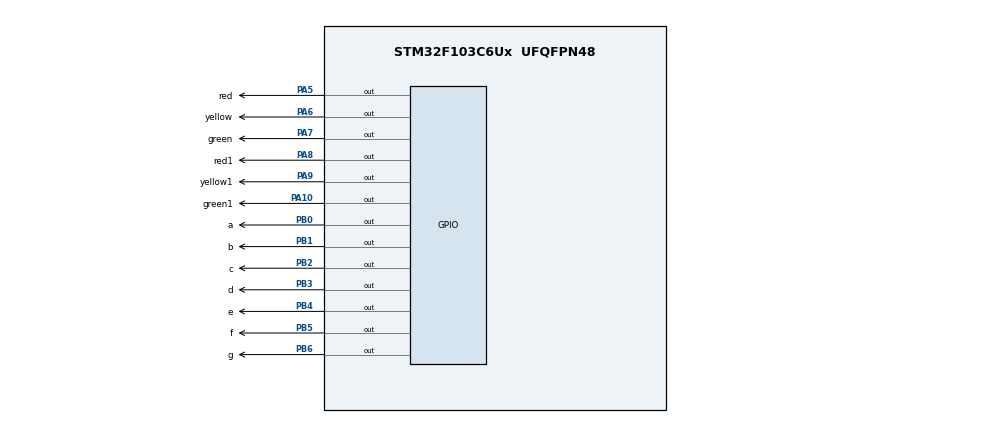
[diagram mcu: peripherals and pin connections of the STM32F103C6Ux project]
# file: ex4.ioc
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Mcu.Family=STM32F1
Mcu.Name=STM32F103C6Ux
Mcu.Package=UFQFPN48
NVIC.PriorityGroup=NVIC_PRIORITYGROUP_4
PA10.GPIO_Label=green1
PA10.Signal=GPIO_Output
PA5.GPIO_Label=red
PA5.Signal=GPIO_Output
PA6.GPIO_Label=yellow
PA6.Signal=GPIO_Output
PA7.GPIO_Label=green
PA7.Signal=GPIO_Output
PA8.GPIO_Label=red1
PA8.Signal=GPIO_Output
PA9.GPIO_Label=yellow1
PA9.Signal=GPIO_Output
PB0.GPIO_Label=a
PB0.Signal=GPIO_Output
PB1.GPIO_Label=b
PB1.Signal=GPIO_Output
PB2.GPIO_Label=c
PB2.Signal=GPIO_Output
PB3.GPIO_Label=d
PB3.Signal=GPIO_Output
PB4.GPIO_Label=e
PB4.Signal=GPIO_Output
PB5.GPIO_Label=f
PB5.Signal=GPIO_Output
PB6.GPIO_Label=g
PB6.Signal=GPIO_Output
ProjectManager.HeapSize=0x200
ProjectManager.StackSize=0x400
ProjectManager.TargetToolchain=STM32CubeIDE
RCC.APB1Freq_Value=8000000
RCC.APB2Freq_Value=8000000
VP_SYS_VS_ND.Mode=No_Debug
board=custom

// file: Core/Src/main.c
/* USER CODE BEGIN Header */
/**
  ******************************************************************************
  * @file           : main.c
  * @brief          : Main program body
  ******************************************************************************
  * @attention
  *
  * <h2><center>&copy; Copyright (c) 2022 STMicroelectronics.
  * All rights reserved.</center></h2>
  *
  * This software component is licensed by ST under BSD 3-Clause license,
  * the "License"; You may not use this file except in compliance with the
  * License. You may obtain a copy of the License at:
  *                        opensource.org/licenses/BSD-3-Clause
  *
  ******************************************************************************
  */
/* USER CODE END Header */
#include "main.h"

void SystemClock_Config(void);
static void MX_GPIO_Init(void);

/* USER CODE BEGIN 0 */
void display7SEG(int num){
 	  HAL_GPIO_WritePin ( a_GPIO_Port , a_Pin , GPIO_PIN_RESET ) ;
 	  HAL_GPIO_WritePin ( b_GPIO_Port , b_Pin , GPIO_PIN_RESET ) ;
 	  HAL_GPIO_WritePin ( c_GPIO_Port , c_Pin , GPIO_PIN_RESET ) ;
 	  HAL_GPIO_WritePin ( d_GPIO_Port , d_Pin , GPIO_PIN_RESET ) ;
 	  HAL_GPIO_WritePin ( e_GPIO_Port , e_Pin , GPIO_PIN_RESET ) ;
 	  HAL_GPIO_WritePin ( f_GPIO_Port , f_Pin , GPIO_PIN_RESET ) ;
 	  HAL_GPIO_WritePin ( g_GPIO_Port , g_Pin , GPIO_PIN_RESET ) ;
 	  if(num == 1 || num == 4)  HAL_GPIO_WritePin ( a_GPIO_Port , a_Pin , GPIO_PIN_SET ) ;
 	  if(num == 5 || num == 6)  HAL_GPIO_WritePin ( b_GPIO_Port , b_Pin , GPIO_PIN_SET ) ;
 	  if(num == 2)  HAL_GPIO_WritePin ( c_GPIO_Port , c_Pin , GPIO_PIN_SET ) ;
 	  if(num == 1 || num == 4 || num == 7)  HAL_GPIO_WritePin ( d_GPIO_Port , d_Pin , GPIO_PIN_SET ) ;
 	  if(num != 0 && num != 2 && num != 6 && num != 8)  HAL_GPIO_WritePin ( e_GPIO_Port , e_Pin , GPIO_PIN_SET ) ;
 	  if(num == 1 || num == 2 || num == 3 || num == 7)  HAL_GPIO_WritePin ( f_GPIO_Port , f_Pin , GPIO_PIN_SET ) ;
 	  if(num == 0 || num == 1 || num == 7)  HAL_GPIO_WritePin ( g_GPIO_Port , g_Pin , GPIO_PIN_SET ) ;
   }
/* USER CODE END 0 */

int main(void)
{

  /* MCU Configuration--------------------------------------------------------*/

  /* Reset of all peripherals, Initializes the Flash interface and the Systick. */
  HAL_Init();

  /* Configure the system clock */
  SystemClock_Config();

  /* Initialize all configured peripherals */
  MX_GPIO_Init();
  /* USER CODE BEGIN 2 */
  int counter = 0;
  /* USER CODE END 2 */

  /* Infinite loop */
  while (1)
  {
	  if( counter >= 10) counter = 0;
	  display7SEG ( counter ++) ;
	  HAL_Delay (1000) ;
  }
}

void SystemClock_Config(void)
{
  RCC_OscInitTypeDef RCC_OscInitStruct = {0};
  RCC_ClkInitTypeDef RCC_ClkInitStruct = {0};

  /** Initializes the RCC Oscillators according to the specified parameters
  * in the RCC_OscInitTypeDef structure.
  */
  RCC_OscInitStruct.OscillatorType = RCC_OSCILLATORTYPE_HSI;
  RCC_OscInitStruct.HSIState = RCC_HSI_ON;
  RCC_OscInitStruct.HSICalibrationValue = RCC_HSICALIBRATION_DEFAULT;
  RCC_OscInitStruct.PLL.PLLState = RCC_PLL_NONE;
  if (HAL_RCC_OscConfig(&RCC_OscInitStruct) != HAL_OK)
  {
    Error_Handler();
  }
  /** Initializes the CPU, AHB and APB buses clocks
  */
  RCC_ClkInitStruct.ClockType = RCC_CLOCKTYPE_HCLK|RCC_CLOCKTYPE_SYSCLK
                              |RCC_CLOCKTYPE_PCLK1|RCC_CLOCKTYPE_PCLK2;
  RCC_ClkInitStruct.SYSCLKSource = RCC_SYSCLKSOURCE_HSI;
  RCC_ClkInitStruct.AHBCLKDivider = RCC_SYSCLK_DIV1;
  RCC_ClkInitStruct.APB1CLKDivider = RCC_HCLK_DIV1;
  RCC_ClkInitStruct.APB2CLKDivider = RCC_HCLK_DIV1;

  if (HAL_RCC_ClockConfig(&RCC_ClkInitStruct, FLASH_LATENCY_0) != HAL_OK)
  {
    Error_Handler();
  }
}

static void MX_GPIO_Init(void)
{
  GPIO_InitTypeDef GPIO_InitStruct = {0};

  /* GPIO Ports Clock Enable */
  __HAL_RCC_GPIOA_CLK_ENABLE();
  __HAL_RCC_GPIOB_CLK_ENABLE();

  /*Configure GPIO pin Output Level */
  HAL_GPIO_WritePin(GPIOA, red_Pin|yellow_Pin|green_Pin|red1_Pin
                          |yellow1_Pin|green1_Pin, GPIO_PIN_RESET);

  /*Configure GPIO pin Output Level */
  HAL_GPIO_WritePin(GPIOB, a_Pin|b_Pin|c_Pin|d_Pin
                          |e_Pin|f_Pin|g_Pin, GPIO_PIN_RESET);

  /*Configure GPIO pins : red_Pin yellow_Pin green_Pin red1_Pin
                           yellow1_Pin green1_Pin */
  GPIO_InitStruct.Pin = red_Pin|yellow_Pin|green_Pin|red1_Pin
                          |yellow1_Pin|green1_Pin;
  GPIO_InitStruct.Mode = GPIO_MODE_OUTPUT_PP;
  GPIO_InitStruct.Pull = GPIO_NOPULL;
  GPIO_InitStruct.Speed = GPIO_SPEED_FREQ_LOW;
  HAL_GPIO_Init(GPIOA, &GPIO_InitStruct);

  /*Configure GPIO pins : a_Pin b_Pin c_Pin d_Pin
                           e_Pin f_Pin g_Pin */
  GPIO_InitStruct.Pin = a_Pin|b_Pin|c_Pin|d_Pin
                          |e_Pin|f_Pin|g_Pin;
  GPIO_InitStruct.Mode = GPIO_MODE_OUTPUT_PP;
  GPIO_InitStruct.Pull = GPIO_NOPULL;
  GPIO_InitStruct.Speed = GPIO_SPEED_FREQ_LOW;
  HAL_GPIO_Init(GPIOB, &GPIO_InitStruct);

}

void Error_Handler(void)
{
  __disable_irq();
  while (1)
  {
  }
}

/************************ (C) COPYRIGHT STMicroelectronics *****END OF FILE****/
